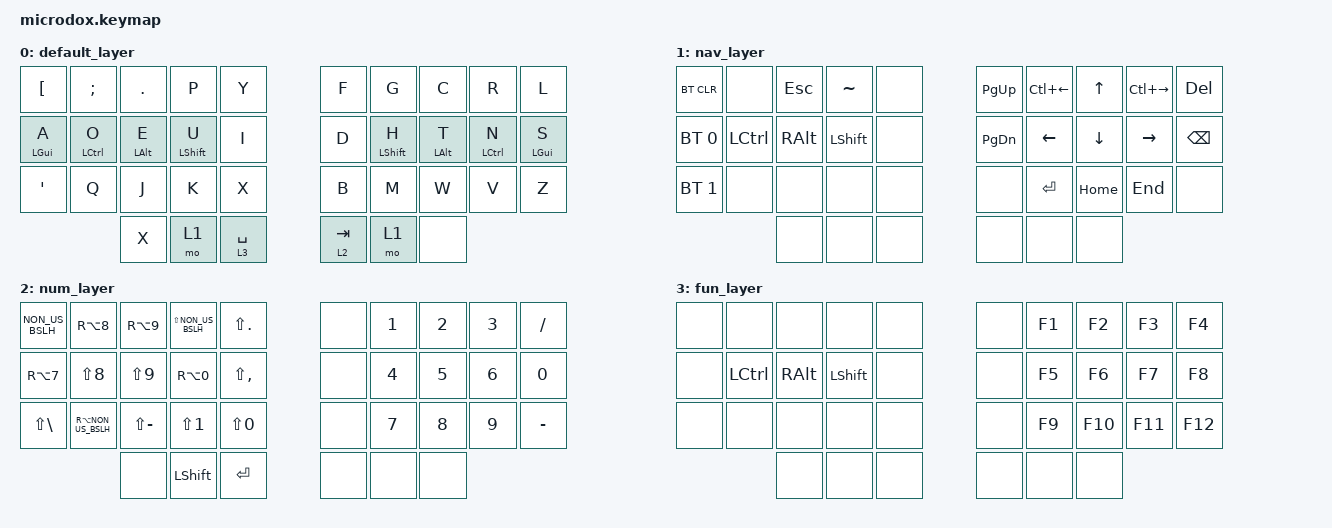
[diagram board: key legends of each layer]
/*
 * Copyright (c) 2020 The ZMK Contributors
 *
 * SPDX-License-Identifier: MIT
 */

#include <behaviors.dtsi>
#include <dt-bindings/zmk/keys.h>
#include <dt-bindings/zmk/bt.h>

/
{
        behaviors {
                hm: homerow_mods {
                compatible = "zmk,behavior-hold-tap";
                label = "HOMEROW_MODS";
                #binding-cells = <2>;
                tapping-term-ms = <250>;
                quick_tap_ms = <0>;
                flavor = "tap-preferred";
                bindings = <&kp>, <&kp>;
                };
        };
        keymap {
                compatible = "zmk,keymap";

                default_layer {
// -----------------------------------------------------------------------------------------
// |  Å  |  Ö  |  .  |  P  |  Y   |   |  F  |  G   |  C  |  R  |  L  |
// |  A  |  O  |  E  |  U  |  I   |   |  D  |  H   |  T  |  N  |  S  |
// |  Ä  |  Q  |  J  |  K  |  X   |   |  B  |  M   |  W  |  V  |  Z  |
//             |  X  | NAV |  SPC |   | TAB | SYM  | CDE |
                        bindings = <
   &kp LBKT     &kp SEMICOLON   &kp DOT         &kp P           &kp Y           &kp F           &kp G           &kp C           &kp R         &kp L
   &hm LGUI A   &hm LCTRL O     &hm LALT E      &hm LSHFT U     &kp I           &kp D           &hm LSHIFT H    &hm LALT T      &hm LCTRL N   &hm LGUI S
   &kp APOS     &kp Q           &kp J           &kp K           &kp X           &kp B           &kp M           &kp W           &kp V         &kp Z
                                &kp X           &mo 1           &lt 3 SPACE     &lt 2 TAB       &mo 1           &none
                        >;
                };
                nav_layer {
// -----------------------------------------------------------------------------------------
// |BTCLR|     | ESC |  ~   |     |   | PGUP | LEFT |  UP  | RGT | DEL  |
// | BT1 | GUI | ALT | CTRL | NUM |   | PDWN | LEFT | DOWN | RGT | BKSP |
// | BT2 |     |     |      |     |   |      | ENT  | HOME | END |      |
//             |     |      |     |   |      |      |      |
                        bindings = <
   &bt BT_CLR   &none           &kp ESC         &kp TILDE       &none           &kp PG_UP    &kp LC(LEFT)       &kp UP   &kp LC(RIGHT)  &kp DEL
   &bt BT_SEL 0 &kp LCTRL       &kp RALT        &kp LSHFT       &none           &kp PG_DN    &kp LEFT           &kp DOWN &kp RIGHT      &kp BSPC
   &bt BT_SEL 1 &none           &none           &none           &none           &none        &kp RET            &kp HOME &kp END        &none
                                &none           &none           &none           &none        &none              &none
                        >;
                };

//                 sym_layer { 
// // -----------------------------------------------------------------------------------------
// // |  !  |  @   |  #  |  $   |  %  |   |     |  1  |  2  |  3  |     |
// // |     | CTLR | ALT | SHFT |     |   |     |  4  |  5  |  6  |  0  |
// // |     |      |     |      |     |   |     |  7  |  8  |  9  |     |
// //              | GUI |      | SPC |   |     |     |     |
//                         bindings = <
//    &kp EXCL     &kp AT          &kp HASH        &kp DLLR        &kp PRCNT       &none   &kp N1  &kp N2  &kp N3  &kp FSLH
//    &none        &kp LCTRL       &kp RALT        &kp LSHFT       &none           &none   &kp N4  &kp N5  &kp N6  &kp N0
//    &none        &none           &none           &none           &none           &none   &kp N7  &kp N8  &kp N9  &kp MINUS
//                                 &kp LGUI        &none           &kp SPACE       &none   &none   &none
//                         >;
//                 };

                num_layer {
// -----------------------------------------------------------------------------------------
// |  <  |  [  |  ]  |   >  |  :  |   |     |  1  |  2  |  3  |     |
// |  {  |  (  |  )  |   }  |  ;  |   |     |  4  |  5  |  6  |  0  |
// |  *  | "|" |  ?  |   !  |  =  |   |     |  7  |  8  |  9  |     |
//             |     | SHFT | RET |   |     |     |     |
                        bindings = <
   &kp NON_US_BSLH      &kp RA(N8)              &kp RA(N9)      &kp LS(NON_US_BSLH)     &kp LS(DOT)     &none  &kp N1  &kp N2  &kp N3  &kp FSLH
   &kp RA(N7)           &kp LS(N8)              &kp LS(N9)      &kp RA(N0)              &kp LS(COMMA)   &none  &kp N4  &kp N5  &kp N6  &kp N0
   &kp LS(BSLH)         &kp RA(NON_US_BSLH)     &kp LS(MINUS)   &kp LS(N1)              &kp LS(N0)      &none  &kp N7  &kp N8  &kp N9  &kp MINUS
                                                &none           &kp LSHFT               &kp RET         &none  &none   &none
                        >;
                };

                fun_layer { 
// -----------------------------------------------------------------------------------------
// |     |      |     |      |     |   |     |  F1  |  F2 |  F3 |  F4 |
// |     | CTLR | ALT | SHFT |     |   |     |  F5  |  F6 |  F7 |  F8 |
// |     |      |     |      |     |   |     |  F9  | F10 | F11 | F12 |
//              |     |      |     |   |     |      |     |
                        bindings = <
   &none        &none           &none           &none           &none   &none   &kp F1  &kp F2  &kp F3  &kp F4
   &none        &kp LCTRL       &kp RALT        &kp LSHFT       &none   &none   &kp F5  &kp F6  &kp F7  &kp F8
   &none        &none           &none           &none           &none   &none   &kp F9  &kp F10 &kp F11  &kp F12
                                &none           &none           &none   &none   &none   &none
                        >;
                };
        };
};
